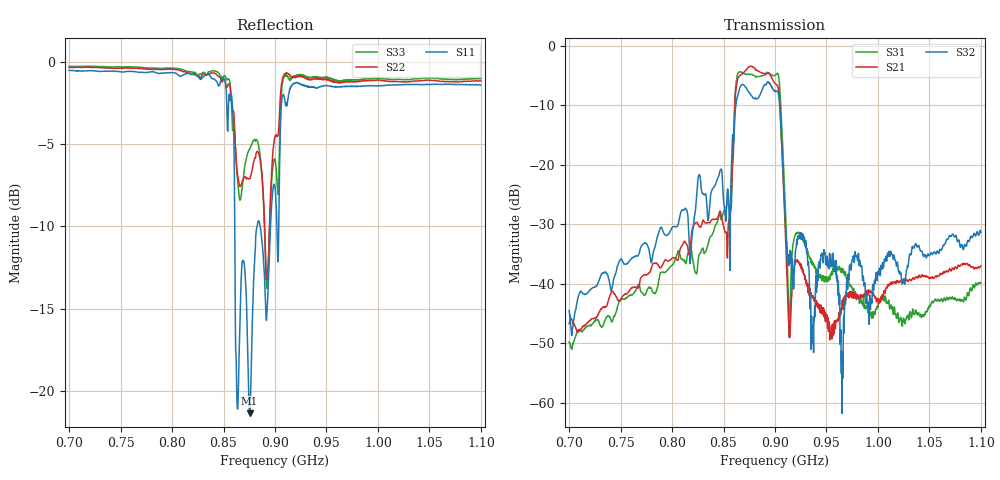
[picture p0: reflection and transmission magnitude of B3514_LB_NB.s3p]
! Matrix data file written by TouchstoneData, EPCOS AG
! FILENAME: "LQ71A_LB_2_NB.s3p_newformat"
! COMMENT: "(LQ71A_LB_2_NB.s3p) EPCOS AG 18.03.2009 15:2"
! INFO: nport=3, nfreq=1601
! DATE: "Thu Apr  2 14:33:02 2009"
! USER: "Michael Schemies"
! port | pin | signal
!  1  |  9  |  input
!  2  |  1  |  output
!  3  |  2  |  output
# MHZ S MA R 50
! freq  magS11 angS11  magS12 angS12  magS13 angS13  ...
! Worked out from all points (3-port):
!   1601 points, 700 MHz to 1.1 GHz, reference 50 ohm
!   strongest paths, dB at 700 MHz, 800 MHz, 900 MHz, 1 GHz, 1.1 GHz:
!     S32: -44.5, -30.6, -7.7, -38.0, -31.4
!     S21: -46.7, -35.7, -6.4, -42.5, -37.0
!     S31: -49.8, -36.9, -5.0, -44.0, -39.8
!   lowest |S11| = -21.3 dB at 875.2 MHz (marker M1), VSWR 1.19, Z = 54.9 + j7.54 ohm
!   |S11| at or under -10 dB: 860.9 MHz to 882.7 MHz (21.83 MHz wide, 2.5 % of centre); 885.7 MHz to 895.6 MHz (9.96 MHz wide, 1.12 % of centre); 901.8109 MHz to 903.6499 MHz (1.839 MHz wide, 0.204 % of centre)
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700  0.9418 -106.2  0.004629 125.9  0.00325 135.6
     0.004619 126.0  0.9619 -64.3  0.005967 139.0
     0.003244 135.4  0.005957 139.1  0.9678 -63.2
852.75  0.8065 165.3  0.02714 94.7  0.04347 101.3
        0.02716 94.8  0.8338 -142.9  0.04068 148.5
        0.0434 101.3  0.04073 148.5  0.8876 -133.8
864.5  0.1031 -174.2  0.5441 -154.6  0.5966 34.6
       0.5441 -154.6  0.4374 81.9  0.4003 107.0
       0.5962 34.7  0.3995 107.1  0.4097 106.9
875.25  0.08561 52.7  0.6651 82.3  0.5759 -99.5
        0.6652 82.4  0.442 -41.4  0.3992 -36.7
        0.5744 -99.4  0.3983 -36.7  0.5422 -44.7
889.5  0.231 175.3  0.5833 -27.7  0.5673 143.9
       0.5839 -27.6  0.3446 -132.8  0.4625 175.7
       0.5672 144.0  0.4616 175.6  0.332 -146.0
900  0.4162 -32.0  0.481 -130.6  0.5626 46.2
     0.4806 -130.5  0.5895 11.9  0.4111 57.1
     0.5627 46.2  0.4106 57.1  0.5017 0.5
914.25  0.8221 -57.2  0.003547 176.1  0.003947 19.4
        0.003528 176.4  0.9126 -31.7  0.01729 -23.0
        0.003918 19.1  0.01727 -23.1  0.8877 -28.2
965.25  0.8406 -101.9  0.006949 151.9  0.01313 41.3
        0.006924 151.6  0.8652 -61.1  0.001804 164.3
        0.01311 41.3  0.001849 163.8  0.8743 -58.7
977  0.841 -105.0  0.008091 123.1  0.008333 38.0
     0.008105 123.1  0.8685 -63.2  0.01509 129.7
     0.008313 38.0  0.01508 129.7  0.8813 -60.7
1100  0.8493 -123.2  0.01409 126.1  0.01019 126.2
      0.01411 126.0  0.8743 -78.7  0.02693 159.2
      0.0102 126.4  0.02696 159.2  0.8878 -75.4
